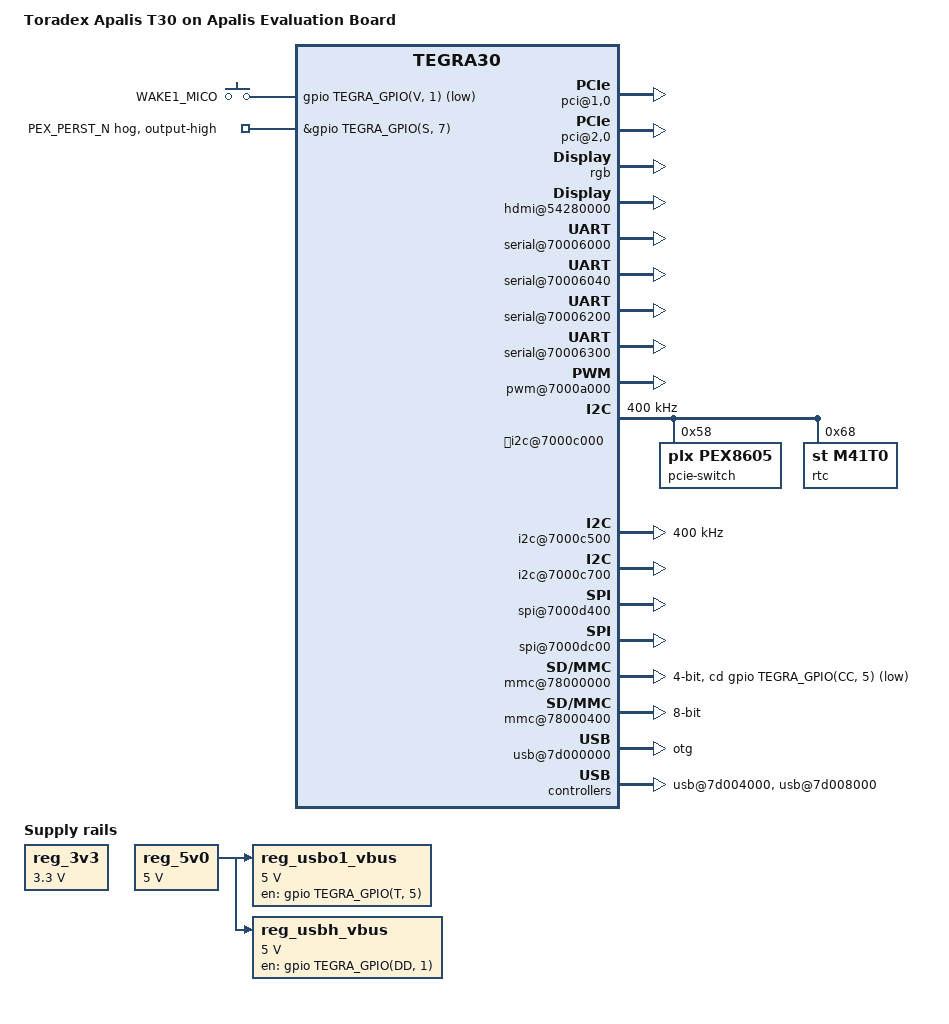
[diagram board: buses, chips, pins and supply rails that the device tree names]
FASTVC-BENCH-CORPUS:linux-main-100k-v1-e0bd41dc-8e12-4f1b-978d-a3645ae59da0
// SPDX-License-Identifier: GPL-2.0
/dts-v1/;

#include <dt-bindings/input/input.h>
#include "tegra30-apalis.dtsi"

/ {
	model = "Toradex Apalis T30 on Apalis Evaluation Board";
	compatible = "toradex,apalis_t30-eval", "toradex,apalis_t30",
		     "nvidia,tegra30";

	aliases {
		rtc0 = "/i2c@7000c000/rtc@68";
		rtc1 = "/i2c@7000d000/pmic@2d";
		rtc2 = "/rtc@7000e000";
		serial0 = &uarta;
		serial1 = &uartb;
		serial2 = &uartc;
/* bench 5119.2.0 5fe3de3f3f90 */
/* bench 5119.2.1 c2703a8261d2 */
/* bench 5119.2.2 082814201db6 */
/* bench 5119.2.3 cc32a2ff19ad */
/* bench 5119.2.4 34e07e67a376 */
/* bench 5119.2.5 432f6fbfa7ae */

	chosen {
		stdout-path = "serial0:115200n8";
	};

	pcie@3000 {
		pci@1,0 {
			status = "okay";
		};

		pci@2,0 {
			status = "okay";
		};
	};

	host1x@50000000 {
		dc@54200000 {
			rgb {
				status = "okay";
				nvidia,panel = <&panel>;
			};
		};

		hdmi@54280000 {
			status = "okay";
			hdmi-supply = <&reg_5v0>;
		};
	};

	/* Apalis UART1 */
	serial@70006000 {
		status = "okay";
	};

	/* Apalis UART2 */
	serial@70006040 {
		status = "okay";
	};

	/* Apalis UART3 */
	serial@70006200 {
		status = "okay";
	};

	/* Apalis UART4 */
	serial@70006300 {
		status = "okay";
	};

	pwm@7000a000 {
		status = "okay";
	};

	/*
	 * GEN1_I2C: I2C1_SDA/SCL on MXM3 pin 209/211 (e.g. RTC on carrier
/* bench 27884.1.0 1d659effdbe4 */
/* bench 27884.1.1 7ceb9e89b61f */
/* bench 27884.1.2 320ac150e1f4 */
/* bench 27884.1.3 d4e97f0165fe */
/* bench 27884.1.4 d10cc9bbb9b0 */
/* bench 27884.1.5 2fcb54393ffc */
	 */
	i2c@7000c000 {
		status = "okay";
		clock-frequency = <400000>;

		pcie-switch@58 {
			compatible = "plx,pex8605";
			reg = <0x58>;
		};

		/* M41T0M6 real time clock on carrier board */
		rtc@68 {
			compatible = "st,m41t0";
			reg = <0x68>;
		};
	};

	/* GEN2_I2C: unused */

	/*
	 * CAM_I2C: I2C3_SDA/SCL on MXM3 pin 201/203 (e.g. camera sensor on
	 * carrier board)
	 */
	i2c@7000c500 {
		status = "okay";
		clock-frequency = <400000>;
	};

	/* DDC: I2C2_SDA/SCL on MXM3 pin 205/207 (e.g. display EDID) */
	i2c@7000c700 {
		status = "okay";
	};

	/* SPI1: Apalis SPI1 */
	spi@7000d400 {
		status = "okay";
		spi-max-frequency = <25000000>;
	};

	/* SPI5: Apalis SPI2 */
	spi@7000dc00 {
		status = "okay";
		spi-max-frequency = <25000000>;
	};

	/* Apalis SD1 */
	mmc@78000000 {
		status = "okay";
		bus-width = <4>;
		/* SD1_CD# */
		cd-gpios = <&gpio TEGRA_GPIO(CC, 5) GPIO_ACTIVE_LOW>;
		no-1-8-v;
	};

	/* Apalis MMC1 */
	mmc@78000400 {
		status = "okay";
		bus-width = <8>;
/* bench 7835.0.0 d4d37361110a */
/* bench 7835.0.1 e47cc17b3158 */
/* bench 7835.0.2 72cd3fd1fc1e */
/* bench 7835.0.3 88184d255b07 */
/* bench 7835.0.4 6b0fbe6bc71e */
/* bench 7835.0.5 fee9db43d53f */
/* bench 7835.0.6 b51e6e9e895f */
/* bench 7835.0.7 db545b467937 */
/* bench 7835.0.8 91d72314f35b */
/* bench 7835.0.9 2b245a39cbdd */
/* bench 7835.0.10 f23d4cbf5f5c */
		no-1-8-v;
	};

	/* EHCI instance 0: USB1_DP/N -> USBO1_DP/N */
	usb@7d000000 {
		status = "okay";
		dr_mode = "otg";
	};

	usb-phy@7d000000 {
		status = "okay";
		vbus-supply = <&reg_usbo1_vbus>;
	};

	/* EHCI instance 1: USB2_DP/N -> USBH2_DP/N */
	usb@7d004000 {
		status = "okay";
	};

	usb-phy@7d004000 {
		status = "okay";
		vbus-supply = <&reg_usbh_vbus>;
	};

	/* EHCI instance 2: USB3_DP/N -> USBH3_DP/N */
	usb@7d008000 {
		status = "okay";
	};

	usb-phy@7d008000 {
		status = "okay";
		vbus-supply = <&reg_usbh_vbus>;
	};

	backlight: backlight {
		compatible = "pwm-backlight";
		brightness-levels = <255 231 223 207 191 159 127 0>;
		default-brightness-level = <6>;
		/* BKL1_ON */
		enable-gpios = <&gpio TEGRA_GPIO(V, 2) GPIO_ACTIVE_HIGH>;
		power-supply = <&reg_3v3>;
		pwms = <&pwm 0 5000000>; /* BKL1_PWM */
	};

	gpio-keys {
		compatible = "gpio-keys";

		wakeup {
			label = "WAKE1_MICO";
			gpios = <&gpio TEGRA_GPIO(V, 1) GPIO_ACTIVE_LOW>;
			linux,code = <KEY_WAKEUP>;
			debounce-interval = <10>;
			wakeup-source;
		};
	};

	panel: panel {
		/*
		 * edt,et057090dhu: EDT 5.7" LCD TFT
		 * edt,et070080dh6: EDT 7.0" LCD TFT
		 */
		compatible = "edt,et057090dhu";
		backlight = <&backlight>;
		power-supply = <&reg_3v3>;
	};

	reg_3v3: regulator-3v3 {
		compatible = "regulator-fixed";
		regulator-name = "3.3V_SW";
		regulator-min-microvolt = <3300000>;
		regulator-max-microvolt = <3300000>;
	};

	reg_5v0: regulator-5v0 {
		compatible = "regulator-fixed";
		regulator-name = "5V_SW";
		regulator-min-microvolt = <5000000>;
		regulator-max-microvolt = <5000000>;
	};

	/* USBO1_EN */
	reg_usbo1_vbus: regulator-usbo1-vbus {
		compatible = "regulator-fixed";
		regulator-name = "VCC_USBO1";
		regulator-min-microvolt = <5000000>;
		regulator-max-microvolt = <5000000>;
		gpio = <&gpio TEGRA_GPIO(T, 5) GPIO_ACTIVE_HIGH>;
		enable-active-high;
		vin-supply = <&reg_5v0>;
	};

	/* USBH_EN */
	reg_usbh_vbus: regulator-usbh-vbus {
		compatible = "regulator-fixed";
		regulator-name = "VCC_USBH(2A|2C|2D|3|4)";
		regulator-min-microvolt = <5000000>;
		regulator-max-microvolt = <5000000>;
		gpio = <&gpio TEGRA_GPIO(DD, 1) GPIO_ACTIVE_HIGH>;
		enable-active-high;
		vin-supply = <&reg_5v0>;
	};
};

&gpio {
	/* Apalis GPIO7 MXM3 pin 15 PLX PEX 8605 PCIe Switch Reset */
	pex-perst-n {
		gpio-hog;
		gpios = <TEGRA_GPIO(S, 7) GPIO_ACTIVE_HIGH>;
		output-high;
		line-name = "PEX_PERST_N";
	};
};
